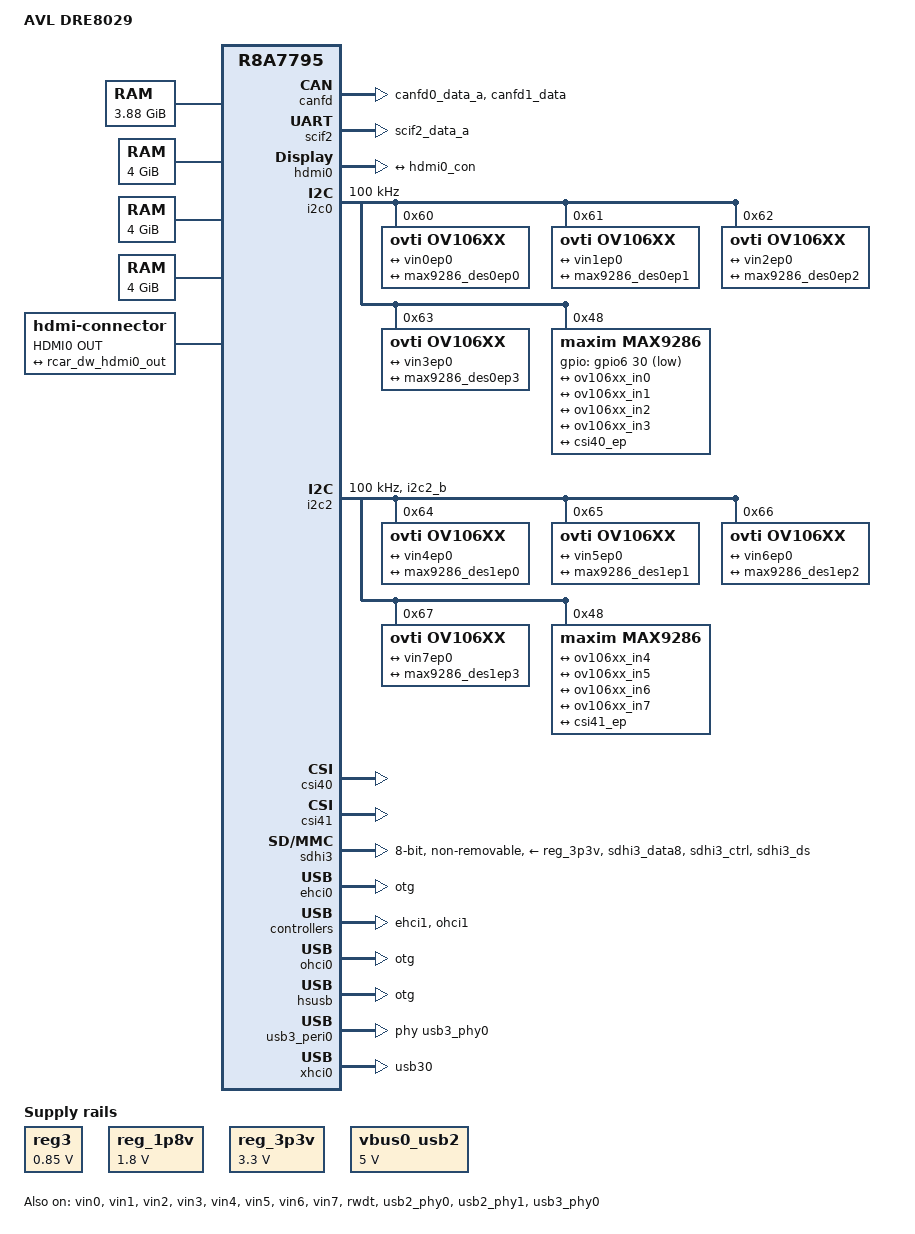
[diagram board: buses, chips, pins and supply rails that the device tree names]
/*
 * Device Tree Source for R-Car Gen3 Boards
 *
 * Copyright (C) 2019 Renesas Electronics Corp.
 *
 * This file is licensed under the terms of the GNU General Public License
 * version 2.  This program is licensed "as is" without any warranty of any
 * kind, whether express or implied.
 */

/dts-v1/;
#include <dt-bindings/gpio/gpio.h>

#include "r8a7795.dtsi"

/ {
	model = "AVL DRE8029";
	compatible = "avl,dre8029", "renesas,r8a7795";

	aliases {
		serial0 = &scif2;
		emmc = &sdhi3;
		ethernet0 = &avb;
	};

	chosen {
		bootargs = "ignore_loglevel rw root=/dev/nfs ip=dhcp";
		stdout-path = "serial0:115200n8";
	};

	memory@48000000 {
		device_type = "memory";
		/* first 128MB is reserved for secure area. */
		reg = <0x0 0x48000000 0x0 0xF8000000>;
	};

	memory@500000000 {
		device_type = "memory";
		reg = <0x5 0x00000000 0x1 0x00000000>;
	};

	memory@600000000 {
		device_type = "memory";
		reg = <0x6 0x00000000 0x1 0x00000000>;
	};

	memory@700000000 {
		device_type = "memory";
		reg = <0x7 0x00000000 0x1 0x00000000>;
	};

	reserved-memory {
		#address-cells = <2>;
		#size-cells = <2>;
		ranges;

		/* device specific region for Lossy Decompression */
		lossy_decompress: linux,lossy_decompress {
			no-map;
			reg = <0x00000000 0x54000000 0x0 0x03000000>;
		};

		/* global autoconfigured region for contiguous allocations */
		linux,cma {
			compatible = "shared-dma-pool";
			reusable;
			reg = <0x00000000 0x58000000 0x0 0x18000000>;
			linux,cma-default;
		};
	};

    reg3: regulator3 {
		compatible = "regulator-fixed";
		regulator-name = "fixed-0.85V";
		regulator-min-microvolt = <850000>;
		regulator-max-microvolt = <850000>;
		regulator-boot-on;
		regulator-always-on;
	};

	reg_1p8v: regulator0 {
		compatible = "regulator-fixed";
		regulator-name = "fixed-1.8V";
		regulator-min-microvolt = <1800000>;
		regulator-max-microvolt = <1800000>;
		regulator-boot-on;
		regulator-always-on;
	};

	reg_3p3v: regulator1 {
		compatible = "regulator-fixed";
		regulator-name = "fixed-3.3V";
		regulator-min-microvolt = <3300000>;
		regulator-max-microvolt = <3300000>;
		regulator-boot-on;
		regulator-always-on;
	};

    vbus0_usb2: regulator-vbus0-usb2 {
		compatible = "regulator-fixed";

		regulator-name = "USB20_VBUS0";
		regulator-min-microvolt = <5000000>;
		regulator-max-microvolt = <5000000>;
		regulator-boot-on;
		regulator-always-on;
	};

	avb-mch {
		compatible = "renesas,avb-mch-gen3";
		reg =	<0 0xec5a0100 0 0x100>;  /* ADG_AVB */
		reg-name = "adg_avb";

		clocks = <&cpg CPG_MOD 922>;
		clock-names = "adg";
		resets = <&cpg 922>;
	};

	hdmi0-out {
		compatible = "hdmi-connector";
		label = "HDMI0 OUT";
		type = "a";

		port {
			hdmi0_con: endpoint {
			};
		};
	};

    /* External DU dot clocks */
	x22_clk: x22-clock {
		compatible = "fixed-clock";
		#clock-cells = <0>;
		clock-frequency = <33000000>;
	};
};

&a57_0 {
	cpu-supply = <&reg3>;
};

&canfd {
	pinctrl-0 = <&canfd0_pins &canfd1_pins>;
	pinctrl-names = "default";
	status = "okay";

	channel0 {
	    status = "okay";
	};

	channel1 {
	    status = "okay";
	};

};

&extal_clk {
	clock-frequency = <16666666>;
};

&extalr_clk {
	clock-frequency = <32768>;
};

&pfc {
	pinctrl-names = "default";

	avb_pins: avb {
		mux {
			groups = "avb_link", "avb_mdio", "avb_mii";
			function = "avb";
		};

		pins_mdio {
			groups = "avb_mdio";
			drive-strength = <24>;
		};

		pins_mii_tx {
			pins = "PIN_AVB_TX_CTL", "PIN_AVB_TXC", "PIN_AVB_TD0",
			       "PIN_AVB_TD1", "PIN_AVB_TD2", "PIN_AVB_TD3";
			drive-strength = <12>;
		};
	};

	scif2_pins: scif2 {
		groups = "scif2_data_a";
		function = "scif2";
	};

	canfd0_pins: canfd0 {
		groups = "canfd0_data_a";
		function = "canfd0";
	};

	canfd1_pins: canfd1 {
		groups = "canfd1_data";
		function = "canfd1";
	};

	i2c2_pins: i2c2 {
		groups = "i2c2_b";
		function = "i2c2";
	};

	sdhi3_pins: sd3 {
		groups = "sdhi3_data8", "sdhi3_ctrl", "sdhi3_ds";
		function = "sdhi3";
		power-source = <3300>;
	};

	sdhi3_pins_uhs: sd3_uhs {
		groups = "sdhi3_data8", "sdhi3_ctrl", "sdhi2_3s";
		function = "sdhi3";
		power-source = <1800>;
	};

	usb0_pins: usb0 {
		groups = "usb0";
		function = "usb0";
	};

	usb1_pins: usb1 {
		mux {
			groups = "usb1";
			function = "usb1";
		};

		ovc {
			pins = "GP_6_27";
			bias-pull-up;
		};

		pwen {
			pins = "GP_6_26";
			bias-pull-down;
		};
	};

	usb30_pins: usb30 {
		groups = "usb30";
		function = "usb30";
	};
};

&scif2 {
	pinctrl-0 = <&scif2_pins>;
	pinctrl-names = "default";

	status = "okay";
};

&hdmi0 {
	status = "okay";

	ports {
		port@1 {
			reg = <1>;
			rcar_dw_hdmi0_out: endpoint {
				remote-endpoint = <&hdmi0_con>;
			};
		};
/*		port@2 {
			reg = <2>;
			dw_hdmi0_snd_in: endpoint {
				remote-endpoint = <&rsnd_endpoint1>;
			};
		}; */
	};
};

&hdmi0_con {
	remote-endpoint = <&rcar_dw_hdmi0_out>;
};

&du {
	clocks = <&cpg CPG_MOD 723>, <&x22_clk>;
	clock-names = "du.1", "dclkin.1";
};
&i2c0 {
	status = "okay";

	clock-frequency = <100000>;
	
	ov106xx@0 {
		compatible = "ovti,ov106xx";
		reg = <0x60>;

		port@0 {
			ov106xx_in0: endpoint {
				clock-lanes = <0>;
				data-lanes = <1 2 3 4>;
				remote-endpoint = <&vin0ep0>;
			};
		};
		port@1 {
			ov106xx_max9286_des0ep0: endpoint@0 {
				remote-endpoint = <&max9286_des0ep0>;
			};
		};
	};

	ov106xx@1 {
		compatible = "ovti,ov106xx";
		reg = <0x61>;

		port@0 {
			ov106xx_in1: endpoint {
				clock-lanes = <0>;
				data-lanes = <1 2 3 4>;
				remote-endpoint = <&vin1ep0>;
			};
		};
		port@1 {
			ov106xx_max9286_des0ep1: endpoint@0 {
				remote-endpoint = <&max9286_des0ep1>;
			};
		};
	};

	ov106xx@2 {
		compatible = "ovti,ov106xx";
		reg = <0x62>;

		port@0 {
			ov106xx_in2: endpoint {
				clock-lanes = <0>;
				data-lanes = <1 2 3 4>;
				remote-endpoint = <&vin2ep0>;
			};
		};
		port@1 {
			ov106xx_max9286_des0ep2: endpoint@0 {
				remote-endpoint = <&max9286_des0ep2>;
			};
		};
	};

	ov106xx@3 {
		compatible = "ovti,ov106xx";
		reg = <0x63>;

		port@0 {
			ov106xx_in3: endpoint {
				clock-lanes = <0>;
				data-lanes = <1 2 3 4>;
				remote-endpoint = <&vin3ep0>;
			};
		};
		port@1 {
			ov106xx_des0ep3: endpoint {
				remote-endpoint = <&max9286_des0ep3>;
			};
		};
	};
	
	max9286@0 {
		compatible = "maxim,max9286";
		reg = <0x48>;
		gpios = <&gpio6 30 GPIO_ACTIVE_LOW>;
		maxim,links = <4>;
		maxim,lanes = <4>;
		maxim,resetb-gpio = <1>;
		maxim,fsync-mode = "automatic";
		maxim,timeout = <100>;
		maxim,i2c-quirk = <0x6c>;

		port@0 {
			max9286_des0ep0: endpoint@0 {
				max9271-addr = <0x50>;
				dvp-order = <1>;
				remote-endpoint = <&ov106xx_in0>;
			};
			max9286_des0ep1: endpoint@1 {
				max9271-addr = <0x51>;
				dvp-order = <1>;
				remote-endpoint = <&ov106xx_in1>;
			};
			max9286_des0ep2: endpoint@2 {
				max9271-addr = <0x52>;
				dvp-order = <1>;
				remote-endpoint = <&ov106xx_in2>;
			};
			max9286_des0ep3: endpoint@3 {
				max9271-addr = <0x53>;
				dvp-order = <1>;
				remote-endpoint = <&ov106xx_in3>;
			};
		};
		port@1 {
			max9286_csi0ep0: endpoint {
				csi-rate = <700>;
				remote-endpoint = <&csi40_ep>;
			};
		};
	};

};

&i2c2 {
	pinctrl-0 = <&i2c2_pins>;
	pinctrl-names = "default";

	status = "okay";

	clock-frequency = <100000>;
	
	ov106xx@4 {
		compatible = "ovti,ov106xx";
		reg = <0x64>;

		port@0 {
			ov106xx_in4: endpoint {
				clock-lanes = <0>;
				data-lanes = <1 2 3 4>;
				remote-endpoint = <&vin4ep0>;
			};
		};
		port@1 {
			ov106xx_max9286_des1ep0: endpoint@0 {
				remote-endpoint = <&max9286_des1ep0>;
			};
		};
	};

	ov106xx@5 {
		compatible = "ovti,ov106xx";
		reg = <0x65>;

		port@0 {
			ov106xx_in5: endpoint {
				clock-lanes = <0>;
				data-lanes = <1 2 3 4>;
				remote-endpoint = <&vin5ep0>;
			};
		};
		port@1 {
			ov106xx_max9286_des1ep1: endpoint@0 {
				remote-endpoint = <&max9286_des1ep1>;
			};
		};
	};

	ov106xx@6 {
		compatible = "ovti,ov106xx";
		reg = <0x66>;

		port@0 {
			ov106xx_in6: endpoint {
				clock-lanes = <0>;
				data-lanes = <1 2 3 4>;
				remote-endpoint = <&vin6ep0>;
			};
		};
		port@1 {
			ov106xx_max9286_des1ep2: endpoint@0 {
				remote-endpoint = <&max9286_des1ep2>;
			};
		};
	};

	ov106xx@7 {
		compatible = "ovti,ov106xx";
		reg = <0x67>;

		port@0 {
			ov106xx_in7: endpoint {
				clock-lanes = <0>;
				data-lanes = <1 2 3 4>;
				remote-endpoint = <&vin7ep0>;
			};
		};
		port@1 {
			ov106xx_des1ep3: endpoint {
				remote-endpoint = <&max9286_des1ep3>;
			};
		};
	};

	max9286@1 {
		compatible = "maxim,max9286";
		reg = <0x48>;
		maxim,links = <4>;
		maxim,lanes = <4>;
		maxim,resetb-gpio = <1>;
		maxim,fsync-mode = "automatic";
		maxim,timeout = <100>;

		port@0 {
			max9286_des1ep0: endpoint@0 {
				max9271-addr = <0x54>;
				dvp-order = <1>;
				remote-endpoint = <&ov106xx_in4>;
			};
			max9286_des1ep1: endpoint@1 {
				max9271-addr = <0x55>;
				dvp-order = <1>;
				remote-endpoint = <&ov106xx_in5>;
			};
			max9286_des1ep2: endpoint@2 {
				max9271-addr = <0x56>;
				dvp-order = <1>;
				remote-endpoint = <&ov106xx_in6>;
			};
			max9286_des1ep3: endpoint@3 {
				max9271-addr = <0x57>;
				dvp-order = <1>;
				remote-endpoint = <&ov106xx_in7>;
			};
		};
		port@1 {
			max9286_csi2ep0: endpoint {
				csi-rate = <700>;
				remote-endpoint = <&csi41_ep>;
			};
		};
	};
};

&vin0 {
	status = "okay";

    ports {
		#address-cells = <1>;
		#size-cells = <0>;

		port@0 {
			vin0ep0: endpoint {
				csi,select = "csi40";
				virtual,channel = <0>;
				data-lanes = <1 2 3 4>;
				remote-endpoint = <&ov106xx_in0>;
			};
		};
		port@1 {
			csi0ep0: endpoint {
				remote-endpoint = <&csi40_ep>;
			};
		};
		port@2 {
			vin0_max9286_des0ep0: endpoint@0 {
				remote-endpoint = <&max9286_des0ep0>;
			};
		};
	};
};

&vin1 {
	status = "okay";
	
	ports {
		#address-cells = <1>;
		#size-cells = <0>;

		port@0 {
			vin1ep0: endpoint {
				csi,select = "csi40";
				virtual,channel = <1>;
				data-lanes = <1 2 3 4>;
				remote-endpoint = <&ov106xx_in1>;
			};
		};
		port@1 {
			csi0ep1: endpoint {
				remote-endpoint = <&csi40_ep>;
			};
		};
		port@2 {
			vin1_max9286_des0ep1: endpoint@0 {
				remote-endpoint = <&max9286_des0ep1>;
			};
		};
	};
};

&vin2 {
	status = "okay";
	
	ports {
		#address-cells = <1>;
		#size-cells = <0>;

		port@0 {
			vin2ep0: endpoint {
				csi,select = "csi40";
				virtual,channel = <2>;
				data-lanes = <1 2 3 4>;
				remote-endpoint = <&ov106xx_in2>;
			};
		};
		port@1 {
			csi0ep2: endpoint {
				remote-endpoint = <&csi40_ep>;
			};
		};
		port@2 {
			vin2_max9286_des0ep2: endpoint@0 {
				remote-endpoint = <&max9286_des0ep2>;
			};
		};
	};
};

&vin3 {
	status = "okay";
	
	ports {
		#address-cells = <1>;
		#size-cells = <0>;

		port@0 {
			vin3ep0: endpoint {
				csi,select = "csi40";
				virtual,channel = <3>;
				data-lanes = <1 2 3 4>;
				remote-endpoint = <&ov106xx_in3>;
			};
		};
		port@1 {
			csi0ep3: endpoint {
				remote-endpoint = <&csi40_ep>;
			};
		};
		port@2 {
			vin3_max9286_des0ep3: endpoint@0 {
				remote-endpoint = <&max9286_des0ep3>;
			};
		};
	};
};

&vin4 {
	status = "okay";
	
	ports {
		#address-cells = <1>;
		#size-cells = <0>;

		port@0 {
			vin4ep0: endpoint {
				csi,select = "csi41";
				virtual,channel = <0>;
				remote-endpoint = <&ov106xx_in4>;
				data-lanes = <1 2 3 4>;
			};
		};
		port@1 {
			csi2ep0: endpoint {
				remote-endpoint = <&csi41_ep>;
			};
		};
		port@2 {
			vin4_max9286_des1ep0: endpoint@0 {
				remote-endpoint = <&max9286_des1ep0>;
			};
		};
	};
};

&vin5 {
	status = "okay";
	
	ports {
		#address-cells = <1>;
		#size-cells = <0>;

		port@0 {
			vin5ep0: endpoint@0 {
				csi,select = "csi41";
				virtual,channel = <1>;
				remote-endpoint = <&ov106xx_in5>;
				data-lanes = <1 2 3 4>;
			};
		};
		port@1 {
			csi2ep1: endpoint {
				remote-endpoint = <&csi41_ep>;
			};
		};
		port@2 {
			vin5_max9286_des1ep1: endpoint@0 {
				remote-endpoint = <&max9286_des1ep1>;
			};
		};
	};
};

&vin6 {
	status = "okay";
	
	ports {
		#address-cells = <1>;
		#size-cells = <0>;

		port@0 {
			vin6ep0: endpoint@0 {
				csi,select = "csi41";
				virtual,channel = <2>;
				remote-endpoint = <&ov106xx_in6>;
				data-lanes = <1 2 3 4>;
			};
		};
		port@1 {
			csi2ep2: endpoint {
				remote-endpoint = <&csi41_ep>;
			};
		};
		port@2 {
			vin6_max9286_des1ep2: endpoint@0 {
				remote-endpoint = <&max9286_des1ep2>;
			};
		};
	};
};

&vin7 {
	status = "okay";
	
	ports {
		#address-cells = <1>;
		#size-cells = <0>;

		port@0 {
			vin7ep0: endpoint@0 {
				csi,select = "csi41";
				virtual,channel = <3>;
				remote-endpoint = <&ov106xx_in7>;
				data-lanes = <1 2 3 4>;
			};
		};
		port@1 {
			csi2ep3: endpoint {
				remote-endpoint = <&csi41_ep>;
			};
		};
		port@2 {
			vin7_max9286_des1ep3: endpoint@0 {
				remote-endpoint = <&max9286_des1ep3>;
			};
		};
	};
};

&csi40 {
	status = "okay";

	virtual,channel {
		csi2_vc0 {
			data,type = "ycbcr422";
			receive,vc = <0>;
		};
		csi2_vc1 {
			data,type = "ycbcr422";
			receive,vc = <1>;
		};
		csi2_vc2 {
			data,type = "ycbcr422";
			receive,vc = <2>;
		};
		csi2_vc3 {
			data,type = "ycbcr422";
			receive,vc = <3>;
		};
	};

	port {
		#address-cells = <1>;
		#size-cells = <0>;

		csi40_ep: endpoint {
			clock-lanes = <0>;
			data-lanes = <1 2 3 4>;
			csi-rate = <300>;
		};
	};
};

&csi41 {
	status = "okay";

	virtual,channel {
		csi2_vc0 {
			data,type = "ycbcr422";
			receive,vc = <0>;
		};
		csi2_vc1 {
			data,type = "ycbcr422";
			receive,vc = <1>;
		};
		csi2_vc2 {
			data,type = "ycbcr422";
			receive,vc = <2>;
		};
		csi2_vc3 {
			data,type = "ycbcr422";
			receive,vc = <3>;
		};
	};

	port {
		#address-cells = <1>;
		#size-cells = <0>;

		csi41_ep: endpoint {
			clock-lanes = <0>;
			data-lanes = <1 2 3 4>;
			csi-rate = <300>;
		};
	};
};

&rwdt {
	timeout-sec = <60>;
	status = "okay";
};

&sdhi3 {
	pinctrl-0 = <&sdhi3_pins>;
	pinctrl-1 = <&sdhi3_pins_uhs>;
	pinctrl-names = "default", "state_uhs";

	vmmc-supply = <&reg_3p3v>;
	vqmmc-supply = <&reg_1p8v>;
	bus-width = <8>;
	mmc-hs200-1_8v;
	non-removable;
	//drive-strength = <1>;
	fixed-emmc-driver-type = <1>;
	status = "okay";
};

&ehci0 {
	dr_mode = "otg";
	status = "okay";
};

&ehci1 {
	status = "okay";
};

&ohci0 {
	dr_mode = "otg";
	status = "okay";
};

&ohci1 {
	status = "okay";
};

&hsusb {
	dr_mode = "otg";
	status = "okay";
};

&usb_extal_clk {
	clock-frequency = <50000000>;
};

&usb2_phy0 {
	pinctrl-0 = <&usb0_pins>;
	pinctrl-names = "default";

	vbus-supply = <&vbus0_usb2>;
	status = "okay";
};

&usb2_phy1 {
	pinctrl-0 = <&usb1_pins>;
	pinctrl-names = "default";

	status = "okay";
};

&usb3_peri0 {
	phys = <&usb3_phy0>;
	phy-names = "usb";

	status = "okay";
};

&usb3_phy0 {
	status = "okay";
};

&usb3s0_clk {
	clock-frequency = <100000000>;
};

&xhci0 {
	pinctrl-0 = <&usb30_pins>;
	pinctrl-names = "default";

	status = "okay";
};
